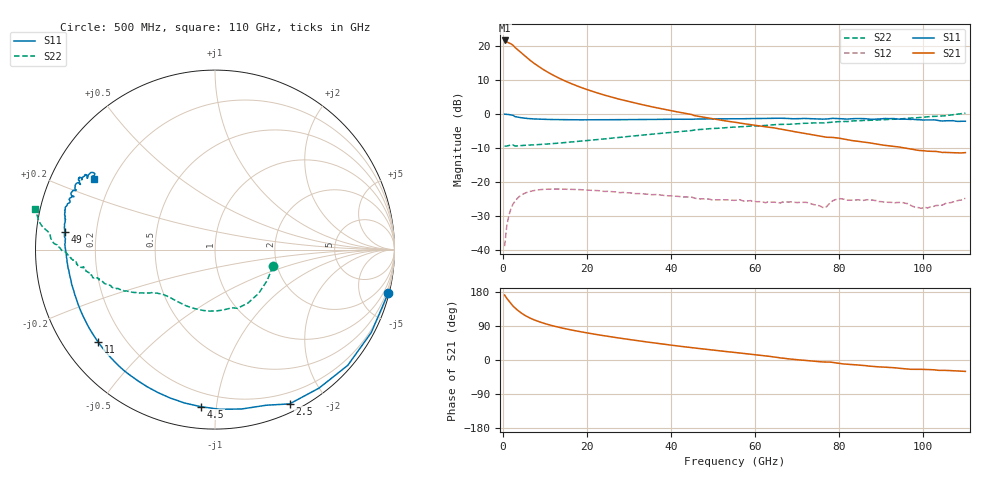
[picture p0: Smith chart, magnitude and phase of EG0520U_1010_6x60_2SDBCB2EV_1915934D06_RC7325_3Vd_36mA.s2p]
!File name = EG0520U_1010_6x60_2SDBCB2EV_1915934D06_RC7325_3Vd_36mA.s2p
!Base file name = EG0520U_1010_6x60_2SDBCB2EV_1915934D06_RC7325
!Date = 8/23/2019
!Time = 1:09 PM
!Test duration(min) = 0.15
!Test = S-Parameters
!MPTS version = 8.91.5
!State File = C:\Data\PNA\20190821205423\S-Parameters_2019-08-23.sta
!Cal File =
!ComputerName = CMPE-LAB-6
!Comments =
!Attenuation = 0
!Z0 = 50
!Input Power(dBm) = -13.00
!Device ID = EG0520U_1010_6x60_2SDBCB2EV
!Row = 73
!Column = 25
!Technology = QPHT09
!Lot/Wafer = 1915934D06
!Gate Size = 360
!Mask = EG0520
!Cal Standards = GaAs BCB
!Cal Kit = EG2306
!Job Number = 20190821205423
!Device Type = FET
!set_Vg(v) = -1.500
!set_Vd(v) = 3.000
!set_Vd(mA) = 36.000
!file_name = EG0520U_1010_6x60_2SDBCB2EV_1915934D06_RC7325_3Vd_36mA.s2p
!Vd(V) = 3.000
!Vd(mA) = 36.143
!Vg(V) = -0.542
!Vg(mA) = -0.002
# GHz  S  DB  R  50
!%	Freq(GHz)  s11(dB)  s11(deg)  s21(dB)  s21(deg)  s12(dB)  s12(deg)  s22(dB)  s22(deg)
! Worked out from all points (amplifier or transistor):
!   220 points, 500 MHz to 110 GHz, reference 50 ohm
!   highest |S21| = 21.6 dB at 500 MHz (marker M1)
!   |S21| within 3 dB of that: start of sweep to 3.862 GHz
!   unconditionally stable (mu >= 1): 34.61 GHz to 104.9 GHz
!   at 18.5 GHz: K = 0.52, MSG = 15.1 dB, |S12| = -22.2 dB
!   at 55.5 GHz: K = 1.49, MAG = 7.3 dB, |S12| = -25.3 dB
!   at 110 GHz: K = -1.44, MSG = 6.7 dB, |S12| = -24.8 dB
!   S11 on the Smith chart (normalised r, x): 500 MHz: 0.16, -8.06; 2.5 GHz: 0.08, -1.59; 4.5 GHz: 0.12, -0.91; 11 GHz: 0.10, -0.35; 49 GHz: 0.09, +0.06; 110 GHz: 0.13, +0.27
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0.5  -0.04 -14.1  21.59 171.4  -38.84 81.5  -9.47 -16.1
1  -0.12 -28.0  21.20 163.0  -33.05 74.1  -9.43 -30.8
1.5  -0.16 -41.1  20.87 156.0  -29.88 66.9  -9.26 -44.8
2  -0.31 -53.1  20.61 148.7  -27.85 60.2  -9.12 -58.3
2.5  -0.40 -64.2  20.19 142.4  -26.45 54.4  -9.11 -69.1
3  -0.79 -71.8  19.52 137.2  -25.62 50.1  -9.44 -73.6
3.5  -0.91 -80.5  18.99 132.2  -24.85 45.7  -9.38 -81.8
4.5  -1.12 -95.1  17.89 123.6  -23.81 38.3  -9.27 -95.3
5.5  -1.27 -106.8  16.83 116.7  -23.19 32.6  -9.22 -105.4
7  -1.43 -120.1  15.34 108.3  -22.63 26.0  -9.09 -116.3
9  -1.54 -132.5  13.60 99.9  -22.23 19.8  -8.96 -125.2
11  -1.61 -141.6  12.10 93.1  -22.09 15.1  -8.80 -131.4
14.5  -1.69 -152.5  9.89 83.5  -22.09 9.5  -8.45 -138.0
19  -1.72 -161.4  7.64 73.7  -22.29 4.7  -7.94 -142.6
26.5  -1.70 -170.8  4.75 60.0  -22.86 0.6  -7.02 -147.2
37  -1.61 -179.0  1.72 43.6  -23.73 -1.6  -5.76 -152.5
49  -1.48 173.3  -1.21 27.4  -25.00 -1.7  -4.35 -159.5
55.5  -1.42 169.5  -2.48 19.5  -25.34 0.3  -3.82 -163.0
73.5  -1.40 159.9  -6.10 -2.9  -26.45 -6.1  -2.63 -171.5
92  -1.38 152.0  -9.39 -19.8  -25.97 -17.8  -1.60 -179.0
101  -1.76 150.8  -10.94 -25.1  -27.63 -16.4  -0.81 176.8
110  -2.15 149.6  -11.36 -30.0  -24.77 -15.0  0.22 167.3
